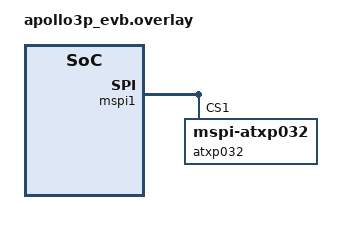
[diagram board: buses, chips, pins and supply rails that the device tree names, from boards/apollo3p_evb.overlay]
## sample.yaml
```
sample:
  name: MSPI Flash Sample
tests:
  sample.drivers.mspi.flash:
    tags:
      - mspi
      - flash
    filter: dt_compat_enabled("jedec,spi-nor")
    platform_exclude: hifive_unmatched
    harness: console
    harness_config:
      type: multi_line
      ordered: true
      regex:
        - "Test 1: Flash erase"
        - "Flash erase succeeded!"
        - "Test 2: Flash write"
        - "Attempting to write 4 bytes"
        - "Data read matches data written. Good!!"
    depends_on: mspi
```

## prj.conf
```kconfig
CONFIG_STDOUT_CONSOLE=y
CONFIG_FLASH=y
CONFIG_MSPI=y
#CONFIG_PM_DEVICE_RUNTIME=n
CONFIG_LOG_MODE_IMMEDIATE=y
```

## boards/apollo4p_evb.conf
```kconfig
CONFIG_FLASH_MSPI_ATXP032=y
CONFIG_LOG=y
CONFIG_LOG_DEFAULT_LEVEL=0
CONFIG_MSPI_INIT_PRIORITY=40
CONFIG_FLASH_INIT_PRIORITY=50
CONFIG_PM_DEVICE=y
```

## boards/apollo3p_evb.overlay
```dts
/*
 * Copyright (c) 2024 Ambiq Inc.
 *
 * SPDX-License-Identifier: Apache-2.0
 */

/ {
    aliases {
        flash0 = &atxp032;
    };
};

&gpio64_95 {
	status = "okay";
};

&gpio32_63 {
	status = "okay";
};

&mspi1 {

    pinctrl-0 = <&mspi1_default>;
    pinctrl-1 = <&mspi1_sleep>;
    pinctrl-2 = <&mspi1_psram>;
    pinctrl-3 = <&mspi1_flash>;
    pinctrl-names = "default","sleep","psram","flash";
    status = "okay";

    ce-gpios = <&gpio64_95 5 GPIO_ACTIVE_LOW>,
               <&gpio32_63 18 GPIO_ACTIVE_LOW>;

    cmdq-buffer-location = ".mspi_buff";
    cmdq-buffer-size = <256>;

    aps6404l: aps6404l@0 {
        compatible = "mspi-aps6404l";
        size = <DT_SIZE_M(64)>;
        reg = <0>;
        status = "disabled";
        mspi-max-frequency = <48000000>;
        mspi-io-mode = "MSPI_IO_MODE_QUAD";
        mspi-data-rate = "MSPI_SINGLE_DATA_RATE";
        mspi-hardware-ce-num = <0>;
        read-instruction = <0xEB>;
        write-instruction = <0x38>;
        instruction-length = "INSTR_1_BYTE";
        address-length = "ADDR_3_BYTE";
        rx-dummy = <6>;
        tx-dummy = <0>;
        xip-config = <1 0 0 0>;
        ce-break-config = <0x6 30>;
        ambiq,timing-config-mask = <3>;
        ambiq,timing-config = <0 6 0 0 0 0 0 0>;
    };
    atxp032: atxp032@1 {
        compatible = "mspi-atxp032";
        size = <DT_SIZE_M(32)>;
        reg = <1>;
        status = "okay";
        mspi-max-frequency = <48000000>;
        mspi-io-mode = "MSPI_IO_MODE_OCTAL";
        mspi-data-rate = "MSPI_SINGLE_DATA_RATE";
        mspi-hardware-ce-num = <0>;
        read-instruction = <0x0B>;
        write-instruction = <0x02>;
        instruction-length = "INSTR_1_BYTE";
        address-length = "ADDR_4_BYTE";
        rx-dummy = <8>;
        tx-dummy = <0>;
        xip-config = <1 0 0 0>;
        ce-break-config = <0 0>;
        ambiq,timing-config-mask = <3>;
        ambiq,timing-config = <0 8 0 0 0 0 0 0>;
    };
};

&pinctrl {
    mspi1_sleep: mspi1_sleep{
		group1 {
			pinmux = <GPIO_P51>,
				 <GPIO_P52>,
				 <GPIO_P53>,
				 <GPIO_P54>,
				 <GPIO_P55>,
				 <GPIO_P56>,
				 <GPIO_P57>,
				 <GPIO_P58>,
                 <GPIO_P59>,
                 <GPIO_P69>,
                 <GPIO_P50>;
		};
    };
    mspi1_psram: mspi1_psram{
		group1 {
			pinmux = <MSPI1_0_P51>,
				 <MSPI1_1_P52>,
				 <MSPI1_2_P53>,
				 <MSPI1_3_P54>,
				 <MSPI1_4_P55>,
				 <MSPI1_5_P56>,
				 <MSPI1_6_P57>,
				 <MSPI1_7_P58>;
            drive-strength = "0.75";
            ambiq,iom-num = <1>;
		};
        group2 {
            pinmux = <MSPI1_8_P59>;
            drive-strength = "0.75";
            ambiq,iom-nce-module = <0>;
            ambiq,iom-num = <2>;
        };
		group3 {
			pinmux = <NCE69_P69>;
			drive-strength = "1.0";
			ambiq,iom-nce-module = <0>;
            ambiq,iom-num = <1>;
		};
        group4 {
            pinmux = <GPIO_P50>;
        };
	};
    mspi1_flash: mspi1_flash{
		group1 {
			pinmux = <MSPI1_0_P51>,
				 <MSPI1_1_P52>,
				 <MSPI1_2_P53>,
				 <MSPI1_3_P54>,
				 <MSPI1_4_P55>,
				 <MSPI1_5_P56>,
				 <MSPI1_6_P57>,
				 <MSPI1_7_P58>;
            drive-strength = "0.75";
            ambiq,iom-num = <1>;
		};
        group2 {
            pinmux = <MSPI1_8_P59>;
            drive-strength = "0.75";
            ambiq,iom-nce-module = <0>;
            ambiq,iom-num = <2>;
        };
		group3 {
			pinmux = <NCE50_P50>;
			drive-strength = "1.0";
			ambiq,iom-nce-module = <0>;
            ambiq,iom-num = <1>;
		};
        group4 {
            pinmux = <GPIO_P69>;
        };
	};
};
```

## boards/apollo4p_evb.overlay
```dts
/*
 * Copyright (c) 2024 Ambiq Inc.
 *
 * SPDX-License-Identifier: Apache-2.0
 */

/ {
    aliases {
        flash0 = &atxp032;
    };
};

&gpio64_95 {
	status = "okay";
};

&gpio32_63 {
	status = "okay";
};

&mspi1 {

    pinctrl-0 = <&mspi1_default>;
    pinctrl-1 = <&mspi1_sleep>;
    pinctrl-2 = <&mspi1_flash>;
    pinctrl-names = "default","sleep","flash";
    status = "okay";

    ce-gpios = <&gpio64_95 23 GPIO_ACTIVE_LOW>,
                <&gpio64_95 25 GPIO_ACTIVE_LOW>;

    cmdq-buffer-location = ".mspi_buff";
    cmdq-buffer-size = <256>;

    atxp032: atxp032@1 {
        compatible = "mspi-atxp032";
        size = <DT_SIZE_M(32)>;
        reg = <1>;
        status = "okay";
        mspi-max-frequency = <48000000>;
        mspi-io-mode = "MSPI_IO_MODE_OCTAL";
        mspi-data-rate = "MSPI_SINGLE_DATA_RATE";
        mspi-hardware-ce-num = <0>;
        read-instruction = <0x0B>;
        write-instruction = <0x02>;
        instruction-length = "INSTR_1_BYTE";
        address-length = "ADDR_4_BYTE";
        rx-dummy = <8>;
        tx-dummy = <0>;
        xip-config = <1 0 0 0>;
        ce-break-config = <0 0>;
        ambiq,timing-config-mask = <3>;
        ambiq,timing-config = <0 8 0 0 0 0 0 0>;
    };
};

&pinctrl {
    mspi1_sleep: mspi1_sleep{
		group1 {
			pinmux = <GPIO_P37>,
				 <GPIO_P38>,
				 <GPIO_P39>,
				 <GPIO_P40>,
				 <GPIO_P41>,
				 <GPIO_P42>,
				 <GPIO_P43>,
				 <GPIO_P44>,
                 <GPIO_P45>,
                 <GPIO_P89>;
		};
    };
    mspi1_flash: mspi1_flash{
		group1 {
			pinmux = <MSPI1_0_P37>,
				 <MSPI1_1_P38>,
				 <MSPI1_2_P39>,
				 <MSPI1_3_P40>,
				 <MSPI1_4_P41>,
				 <MSPI1_5_P42>,
				 <MSPI1_6_P43>,
				 <MSPI1_7_P44>;
            drive-strength = "1.0";
		};
        group2 {
            pinmux = <MSPI1_8_P45>;
            drive-strength = "1.0";
            ambiq,iom-nce-module = <0>;
            ambiq,iom-num = <2>;
       };
		group3 {
			pinmux = <NCE89_P89>;
			drive-strength = "0.5";
            ambiq,iom-num = <1>;
 			ambiq,iom-nce-module = <34>;
		};
	};
};
```

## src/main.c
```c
/*
 * Copyright (c) 2016 Intel Corporation.
 *
 * SPDX-License-Identifier: Apache-2.0
 */

#include <zephyr/kernel.h>
#include <zephyr/drivers/flash.h>
#include <zephyr/device.h>
#include <zephyr/devicetree.h>
#include <stdio.h>
#include <string.h>

#define SPI_FLASH_TEST_REGION_OFFSET 0xff000

#define SPI_FLASH_SECTOR_SIZE        4096

#define SPI_FLASH_MULTI_SECTOR_TEST

int single_sector_test(const struct device *flash_dev)
{
	const uint8_t expected[] = { 0x55, 0xaa, 0x66, 0x99 };
	const size_t len = sizeof(expected);
	uint8_t buf[sizeof(expected)];
	int rc;

	printf("\nPerform test on single sector");
	/* Write protection needs to be disabled before each write or
	 * erase, since the flash component turns on write protection
	 * automatically after completion of write and erase
	 * operations.
	 */
	printf("\nTest 1: Flash erase\n");

	/* Full flash erase if SPI_FLASH_TEST_REGION_OFFSET = 0 and
	 * SPI_FLASH_SECTOR_SIZE = flash size
	 */
	rc = flash_erase(flash_dev, SPI_FLASH_TEST_REGION_OFFSET,
			 SPI_FLASH_SECTOR_SIZE);
	if (rc != 0) {
		printf("Flash erase failed! %d\n", rc);
	} else {
		printf("Flash erase succeeded!\n");
	}

	printf("\nTest 2: Flash write\n");

	printf("Attempting to write %zu bytes\n", len);
	rc = flash_write(flash_dev, SPI_FLASH_TEST_REGION_OFFSET, expected, len);
	if (rc != 0) {
		printf("Flash write failed! %d\n", rc);
		return 1;
	}

	memset(buf, 0, len);
	rc = flash_read(flash_dev, SPI_FLASH_TEST_REGION_OFFSET, buf, len);
	if (rc != 0) {
		printf("Flash read failed! %d\n", rc);
		return 1;
	}

	if (memcmp(expected, buf, len) == 0) {
		printf("Data read matches data written. Good!!\n");
	} else {
		const uint8_t *wp = expected;
		const uint8_t *rp = buf;
		const uint8_t *rpe = rp + len;

		printf("Data read does not match data written!!\n");
		while (rp < rpe) {
			printf("%08x wrote %02x read %02x %s\n",
			       (uint32_t)(SPI_FLASH_TEST_REGION_OFFSET + (rp - buf)),
			       *wp, *rp, (*rp == *wp) ? "match" : "MISMATCH");
			++rp;
			++wp;
		}
		return 1;
	}
	return rc;
}

#if defined SPI_FLASH_MULTI_SECTOR_TEST
int multi_sector_test(const struct device *flash_dev)
{
	const uint8_t expected[] = { 0x55, 0xaa, 0x66, 0x99 };
	const size_t len = sizeof(expected);
	uint8_t buf[sizeof(expected)];
	int rc;

	printf("\nPerform test on multiple consequtive sectors");

	/* Write protection needs to be disabled before each write or
	 * erase, since the flash component turns on write protection
	 * automatically after completion of write and erase
	 * operations.
	 */
	printf("\nTest 1: Flash erase\n");

	/* Full flash erase if SPI_FLASH_TEST_REGION_OFFSET = 0 and
	 * SPI_FLASH_SECTOR_SIZE = flash size
	 * Erase 2 sectors for check for erase of consequtive sectors
	 */
	rc = flash_erase(flash_dev, SPI_FLASH_TEST_REGION_OFFSET, SPI_FLASH_SECTOR_SIZE * 2);
	if (rc != 0) {
		printf("Flash erase failed! %d\n", rc);
	} else {
		/* Read the content and check for erased */
		memset(buf, 0, len);
		size_t offs = SPI_FLASH_TEST_REGION_OFFSET;

		while (offs < SPI_FLASH_TEST_REGION_OFFSET + 2 * SPI_FLASH_SECTOR_SIZE) {
			rc = flash_read(flash_dev, offs, buf, len);
			if (rc != 0) {
				printf("Flash read failed! %d\n", rc);
				return 1;
			}
			if (buf[0] != 0xff) {
				printf("Flash erase failed at offset 0x%x got 0x%x\n",
				offs, buf[0]);
				return 1;
			}
			offs += SPI_FLASH_SECTOR_SIZE;
		}
		printf("Flash erase succeeded!\n");
	}

	printf("\nTest 2: Flash write\n");

	size_t offs = SPI_FLASH_TEST_REGION_OFFSET;

	while (offs < SPI_FLASH_TEST_REGION_OFFSET + 2 * SPI_FLASH_SECTOR_SIZE) {
		printf("Attempting to write %zu bytes at offset 0x%x\n", len, offs);
		rc = flash_write(flash_dev, offs, expected, len);
		if (rc != 0) {
			printf("Flash write failed! %d\n", rc);
			return 1;
		}

		memset(buf, 0, len);
		rc = flash_read(flash_dev, offs, buf, len);
		if (rc != 0) {
			printf("Flash read failed! %d\n", rc);
			return 1;
		}

		if (memcmp(expected, buf, len) == 0) {
			printf("Data read matches data written. Good!!\n");
		} else {
			const uint8_t *wp = expected;
			const uint8_t *rp = buf;
			const uint8_t *rpe = rp + len;

			printf("Data read does not match data written!!\n");
			while (rp < rpe) {
				printf("%08x wrote %02x read %02x %s\n",
					(uint32_t)(offs + (rp - buf)),
					*wp, *rp, (*rp == *wp) ? "match" : "MISMATCH");
				++rp;
				++wp;
			}
			return 1;
		}
		offs += SPI_FLASH_SECTOR_SIZE;
	}
	return rc;
}
#endif

int main(void)
{
	const struct device *flash_dev = DEVICE_DT_GET(DT_ALIAS(flash0));

	if (!device_is_ready(flash_dev)) {
		printk("%s: device not ready.\n", flash_dev->name);
		return 1;
	}

	printf("\n%s SPI flash testing\n", flash_dev->name);
	printf("==========================\n");

	if (single_sector_test(flash_dev)) {
        return 1;
    }
#if defined SPI_FLASH_MULTI_SECTOR_TEST
	if (multi_sector_test(flash_dev)) {
        return 1;
    }
#endif
    printf("==========================\n");
	return 0;
}
```
